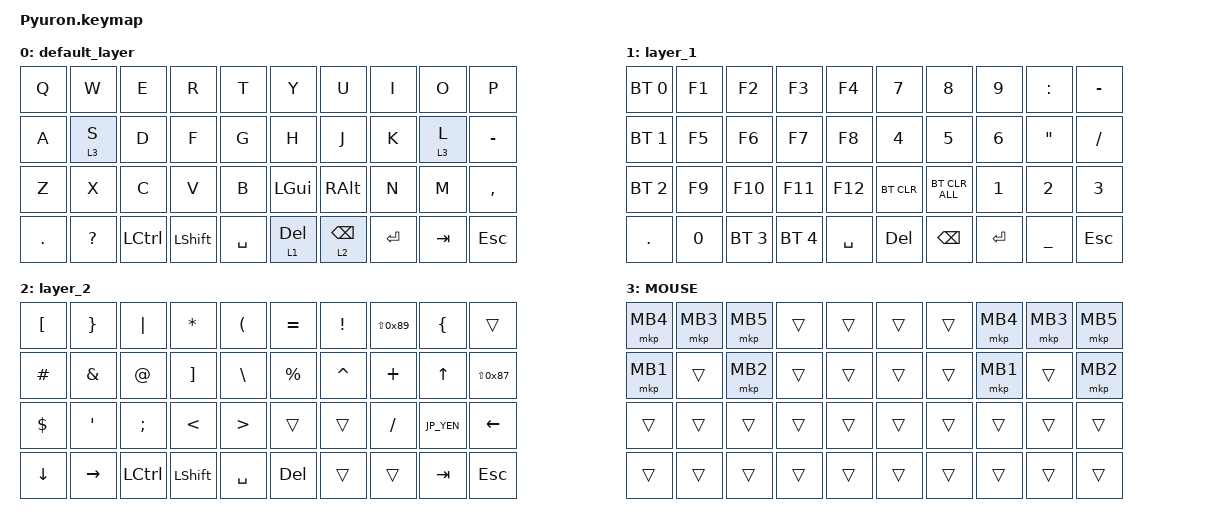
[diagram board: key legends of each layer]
#include <behaviors.dtsi>
#include <dt-bindings/zmk/bt.h>
#include <dt-bindings/zmk/keys.h>
#include <dt-bindings/zmk/pointing.h>

#define MOUSE 3

// OS設定を日本語キーボードのまま使用するための変換定義

#define JP_DQUOTE       AT                // "
#define JP_AMPERSAND    CARET             // &
#define JP_QUOTE        AMPERSAND         // '
#define JP_EQUAL        UNDER             // =
#define JP_CARET        EQUAL             // ^
#define JP_YEN          0x89              // ¥
#define JP_PLUS         COLON             // +
#define JP_TILDE        PLUS              // ~
#define JP_PIPE         LS(0x89)          // |
#define JP_AT           LEFT_BRACKET      // @
#define JP_COLON        SINGLE_QUOTE      // :
#define JP_ASTERISK     DOUBLE_QUOTES     // *
#define JP_BACKQUOTE    LEFT_BRACE        // `
#define JP_UNDERSCORE   LS(0x87)          // _
#define JP_LBRACKET     RIGHT_BRACKET     // [
#define JP_RBRACKET     BACKSLASH         // ]
#define JP_LPAREN       ASTERISK          // (
#define JP_RPAREN       LEFT_PARENTHESIS  // )
#define JP_LBRACE       RIGHT_BRACE       // {
#define JP_RBRACE       PIPE              // }
#define JP_KANA         LANGUAGE_1        // かな
#define JP_EISU         LANGUAGE_2        // 英数
#define JP_HANZEN       GRAVE             // 半角/全角

&mt {
    flavor = "balanced";
    quick-tap-ms = <0>;
};

/ {
    combos {
        compatible = "zmk,combos";

        COMBO_En {
            bindings = <&kp LANGUAGE_2>;
            key-positions = <35 34>;
        };

        COMBO_Jn {
            bindings = <&kp LANGUAGE_1>;
            key-positions = <37 36>;
        };
    };
};

/ {
    behaviors {
    };

    keymap {
        compatible = "zmk,keymap";

        default_layer {
            bindings = <
&kp Q       &kp W         &kp E      &kp R           &kp T      &kp Y         &kp U            &kp I      &kp O    &kp P
&kp A       &lt 3 S       &kp D      &kp F           &kp G      &kp H         &kp J            &kp K      &lt 3 L  &kp MINUS
&kp Z       &kp X         &kp C      &kp V           &kp B      &kp LEFT_GUI  &kp RIGHT_ALT    &kp N      &kp M    &kp COMMA
&kp PERIOD  &kp QUESTION  &kp LCTRL  &kp LEFT_SHIFT  &kp SPACE  &lt 1 DELETE  &lt 2 BACKSPACE  &kp ENTER  &kp TAB  &kp ESC
            >;
        };

        layer_1 {
            bindings = <
&bt BT_SEL 0  &kp F1  &kp F2        &kp F3        &kp F4     &kp N7        &kp N8          &kp N9        &kp JP_PLUS      &kp MINUS
&bt BT_SEL 1  &kp F5  &kp F6        &kp F7        &kp F8     &kp NUMBER_4  &kp N5          &kp NUMBER_6  &kp JP_ASTERISK  &kp SLASH
&bt BT_SEL 2  &kp F9  &kp F10       &kp F11       &kp F12    &bt BT_CLR    &bt BT_CLR_ALL  &kp NUMBER_1  &kp NUMBER_2     &kp NUMBER_3
&kp PERIOD    &kp N0  &bt BT_SEL 3  &bt BT_SEL 4  &kp SPACE  &kp DELETE    &kp BACKSPACE   &kp ENTER     &kp JP_EQUAL     &kp ESCAPE
            >;
        };

        layer_2 {
            bindings = <
&kp JP_AT       &kp JP_LBRACE    &kp JP_RBRACE  &kp JP_LPAREN    &kp JP_RPAREN     &kp JP_CARET  &kp EXCLAMATION   &kp JP_PIPE   &kp JP_BACKQUOTE  &trans
&kp HASH        &kp JP_QUOTE     &kp JP_DQUOTE  &kp JP_LBRACKET  &kp JP_RBRACKET   &kp PERCENT   &kp JP_AMPERSAND  &kp JP_TILDE  &kp UP_ARROW      &kp JP_UNDERSCORE
&kp DOLLAR      &kp JP_COLON     &kp SEMICOLON  &kp LESS_THAN    &kp GREATER_THAN  &trans        &trans            &kp SLASH     &kp JP_YEN        &kp LEFT_ARROW
&kp DOWN_ARROW  &kp RIGHT_ARROW  &kp LCTRL      &kp LSHIFT       &kp SPACE         &kp DELETE    &trans            &trans        &kp TAB           &kp ESCAPE
            >;
        };

        MOUSE {
            bindings = <
&mkp MB4  &mkp MB3  &mkp MB5  &trans  &trans  &trans  &trans  &mkp MB4  &mkp MB3  &mkp MB5
&mkp MB1  &trans    &mkp MB2  &trans  &trans  &trans  &trans  &mkp MB1  &trans    &mkp MB2
&trans    &trans    &trans    &trans  &trans  &trans  &trans  &trans    &trans    &trans
&trans    &trans    &trans    &trans  &trans  &trans  &trans  &trans    &trans    &trans
            >;
        };
    };
};
